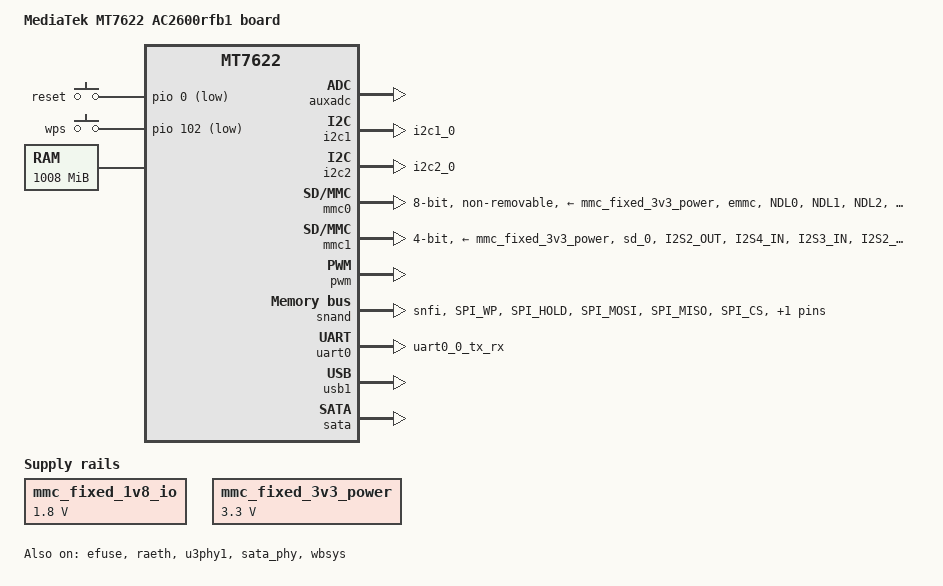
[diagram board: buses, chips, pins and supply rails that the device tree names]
/*
 * Copyright (c) 2017 MediaTek Inc.
 * Author: Ming Huang <ming.huang@mediatek.com>
 *
 * This program is free software; you can redistribute it and/or modify
 * it under the terms of the GNU General Public License version 2 as
 * published by the Free Software Foundation.
 *
 * This program is distributed in the hope that it will be useful,
 * but WITHOUT ANY WARRANTY; without even the implied warranty of
 * MERCHANTABILITY or FITNESS FOR A PARTICULAR PURPOSE.  See the
 * GNU General Public License for more details.
 */

/dts-v1/;
#include <dt-bindings/gpio/gpio.h>
#include <dt-bindings/input/input.h>
#include <dt-bindings/pinctrl/mt65xx.h>
#include "mt7622.dtsi"
#include "mt6380.dtsi"

/ {
	model = "MediaTek MT7622 AC2600rfb1 board";
	compatible = "mediatek,mt7622-ac2600rfb1", "mediatek,mt7622";

	chosen {
		bootargs = "console=ttyS0,115200n1 loglevel=8 swiotlb=512 rootfstype=squashfs";
	};

	gpio-keys {
		compatible = "gpio-keys";
		#address-cells = <1>;
		#size-cells = <0>;

		reset {
			label = "reset";
			gpios = <&pio 0 GPIO_ACTIVE_LOW>;
			linux,code = <KEY_RESTART>;
		};

		wps {
			label = "wps";
			gpios = <&pio 102 GPIO_ACTIVE_LOW>;
			linux,code = <KEY_WPS_BUTTON>;
		};
	};

	mmc_fixed_1v8_io: fixedregulator-1v8 {
		compatible = "regulator-fixed";
		regulator-name = "mmc_io";
		regulator-min-microvolt = <1800000>;
		regulator-max-microvolt = <1800000>;
		regulator-always-on;
	};

	mmc_fixed_3v3_power: fixedregulator-3v3 {
		compatible = "regulator-fixed";
		regulator-name = "mmc_power";
		regulator-min-microvolt = <3300000>;
		regulator-max-microvolt = <3300000>;
		regulator-always-on;
	};

	memory@40000000 {
		device_type = "memory";
		reg = <0 0x40000000 0 0x3F000000>;
	};

	sound: sound {
		compatible = "mediatek,mt7622-wm8960-machine";
		mediatek,platform = <&afe>;
		audio-routing =
				"Headphone", "HP_L",
				"Headphone", "HP_R",
				"LINPUT2", "AMIC",
				"RINPUT2", "AMIC";
		mediatek,audio-codec = <&wm8960>;
		pinctrl-names = "default";
		pinctrl-0 = <&aud_pins_default>;
		status = "disabled";
	};
};

&auxadc {
	status = "okay";
};

&bch {
	status = "disabled";
};

&cpu0 {
	proc-supply = <&mt6380_vcpu_reg>;
	sram-supply = <&mt6380_vm_reg>;
};

&cpu1 {
	proc-supply = <&mt6380_vcpu_reg>;
	sram-supply = <&mt6380_vm_reg>;
};

&efuse {
	status = "okay";
};

&raeth {
	mac-address = [00 00 00 00 00 00];
	dma-coherent;
	wan_at = "p4";
	gmac1-support = "sgmii-1";
	sgmii-mode-1 = "force-2500";
	#gmac1-support = "rgmii-1";
	#rgmii-mode-1 = "force-1000";
	#gmac1-phy-address = <0x1f>;
	gmac2-support = "rgmii-2";
	rgmii-mode-2 = "force-1000";
	#rgmii-mode-2 = "an";
	#gmac2-phy-address = <0x1e>;
	gmac1_txq_num = <1>;
	gmac1_txq_txd_num = <2048>;
	gmac2_txq_num = <1>;
	gmac2_txq_txd_num = <1024>;
	num_rx_desc = <2048>;
	status = "okay";
};

&i2c0 {
	pinctrl-names = "default";
	pinctrl-0 = <&i2c0_pins>;
	status = "disabled";

	wm8960: wm8960@1a {
		compatible = "wlf,wm8960";
		reg = <0x1a>;
	};
};

&i2c1 {
	pinctrl-names = "default";
	pinctrl-0 = <&i2c1_pins>;
	status = "okay";
};

&i2c2 {
	pinctrl-names = "default";
	pinctrl-0 = <&i2c2_pins>;
	status = "okay";
};

&mmc0 {
	pinctrl-names = "default", "state_uhs";
	pinctrl-0 = <&emmc_pins_default>;
	pinctrl-1 = <&emmc_pins_uhs>;
	status = "okay";
	bus-width = <8>;
	max-frequency = <50000000>;
	cap-mmc-highspeed;
	mmc-hs200-1_8v;
	vmmc-supply = <&mmc_fixed_3v3_power>;
	vqmmc-supply = <&mmc_fixed_1v8_io>;
	assigned-clocks = <&topckgen CLK_TOP_MSDC30_0_SEL>;
	assigned-clock-parents = <&topckgen CLK_TOP_UNIV48M>;
	non-removable;
};

&mmc1 {
	pinctrl-names = "default", "state_uhs";
	pinctrl-0 = <&sd0_pins_default>;
	pinctrl-1 = <&sd0_pins_uhs>;
	status = "okay";
	bus-width = <4>;
	max-frequency = <50000000>;
	cap-sd-highspeed;
	r_smpl = <1>;
	cd-gpios = <&pio 81 GPIO_ACTIVE_LOW>;
	vmmc-supply = <&mmc_fixed_3v3_power>;
	vqmmc-supply = <&mmc_fixed_3v3_power>;
	assigned-clocks = <&topckgen CLK_TOP_MSDC30_1_SEL>;
	assigned-clock-parents = <&topckgen CLK_TOP_UNIV48M>;
};

&nandc {
	pinctrl-names = "default";
	pinctrl-0 = <&nand_pins_default>;
	status = "disabled";
	nand-ecc-mode = "hw";
};

&nor_flash {
	pinctrl-names = "default";
	pinctrl-0 = <&snor_pins_default>;
	status = "disabled";
	compatible = "jedec,spi-nor";
	#address-cells = <1>;
	#size-cells = <1>;
};

&pio {
	aud_pins_default: audiodefault {
		mux {
			function = "i2s";
			groups =  "i2s_out_mclk_bclk_ws",
				  "i2s1_in_data",
				  "i2s1_out_data";
		};

		conf {
			pins = "I2S1_IN", "I2S1_OUT", "I2S_BCLK",
			       "I2S_WS", "I2S_MCLK";
			drive-strength = <MTK_DRIVE_12mA>;
			bias-pull-down;
		};
	};

	i2c0_pins: i2c0-pins {
		mux {
			function = "i2c";
			groups = "i2c0";
		};
	};

	i2c1_pins: i2c1-pins {
		mux {
			function = "i2c";
			groups = "i2c1_0";
		};
	};

	i2c2_pins: i2c2-pins {
		mux {
			function = "i2c";
			groups = "i2c2_0";
		};
	};

	emmc_pins_default: emmc-pins-default {
		mux {
			function = "emmc", "emmc_rst";
			groups = "emmc";
		};

		conf-cmd-dat {
			pins = "NDL0", "NDL1", "NDL2",
			       "NDL3", "NDL4", "NDL5",
			       "NDL6", "NDL7", "NRB";
			input-enable;
			bias-pull-up;
		};

		conf-clk {
			pins = "NCLE";
			bias-pull-down;
		};
	};

	emmc_pins_uhs: emmc-pins-uhs {
		mux {
			function = "emmc";
			groups = "emmc";
		};

		conf-cmd-dat {
			pins = "NDL0", "NDL1", "NDL2",
			       "NDL3", "NDL4", "NDL5",
			       "NDL6", "NDL7", "NRB";
			input-enable;
			drive-strength = <MTK_DRIVE_4mA>;
			bias-pull-up;
		};

		conf-clk {
			pins = "NCLE";
			drive-strength = <MTK_DRIVE_4mA>;
			bias-pull-down;
		};
	};

	sd0_pins_default: sd0-pins-default {
		mux {
			function = "sd";
			groups = "sd_0";
		};

		conf-cmd-data {
			pins = "I2S2_OUT", "I2S4_IN", "I2S3_IN",
			       "I2S2_IN","I2S4_OUT";
			input-enable;
			drive-strength = <MTK_DRIVE_8mA>;
			bias-pull-up;
		};

		conf-clk {
			pins = "I2S3_OUT";
			drive-strength = <MTK_DRIVE_12mA>;
			bias-pull-down;
		};

		conf-cd {
			pins = "TXD3";
			bias-pull-up;
		};
	};

	sd0_pins_uhs: sd0-pins-uhs {
		mux {
			function = "sd";
			groups = "sd_0";
		};

		conf-cmd-data {
			pins = "I2S2_OUT", "I2S4_IN", "I2S3_IN",
			       "I2S2_IN","I2S4_OUT";
			input-enable;
			bias-pull-up;
		};

		conf-clk {
			pins = "I2S3_OUT";
			bias-pull-down;
		};
	};

	nand_pins_default: nanddefault {
		mux {
			function = "flash";
			groups = "par_nand";
		};
	};

	snand_pins_default: snand-pins-default {
		mux {
			function = "flash";
			groups = "snfi";
		};

		conf-cmd-dat {
			pins = "SPI_WP", "SPI_HOLD", "SPI_MOSI",
			       "SPI_MISO", "SPI_CS";
			input-enable;
			drive-strength = <MTK_DRIVE_16mA>;
			bias-pull-up;
		};

		conf-clk {
			pins = "SPI_CLK";
			drive-strength = <MTK_DRIVE_16mA>;
			bias-pull-down;
		};
	};

	snor_pins_default: snor-pins-default {
		mux {
			function = "flash";
			groups = "spi_nor";
		};
	};

	uart0_pins: uart0-pins {
		mux {
			function = "uart";
			groups = "uart0_0_tx_rx" ;
		};
	};

	wbsys_pins_default: wbsysdefault {
	};

	wbsys_pins_epa: wbsysepa {
		mux {
			function = "antsel";
			groups = "antsel0", "antsel1", "antsel2", "antsel3",
				 "antsel4", "antsel5", "antsel6", "antsel7",
				 "antsel8", "antsel9", "antsel12", "antsel13",
				 "antsel14", "antsel15", "antsel16", "antsel17";
		};
	};
};

&pwm {
	status = "okay";
};

&snand {
	pinctrl-names = "default";
	pinctrl-0 = <&snand_pins_default>;
	status = "okay";
};

&svs {
	vproc-supply = <&mt6380_vcpu_reg>;
};

&uart0 {
	pinctrl-names = "default";
	pinctrl-0 = <&uart0_pins>;
	status = "okay";
};

&usb1 {
	status = "okay";
};

&u3phy1 {
	status = "okay";
};

&sata {
	status = "okay";
};

&sata_phy {
	status = "okay";
};

&wbsys {
	pinctrl-names = "default", "state_epa";
	pinctrl-0 = <&wbsys_pins_default>;
	pinctrl-1 = <&wbsys_pins_epa>;
	status = "okay";
};
